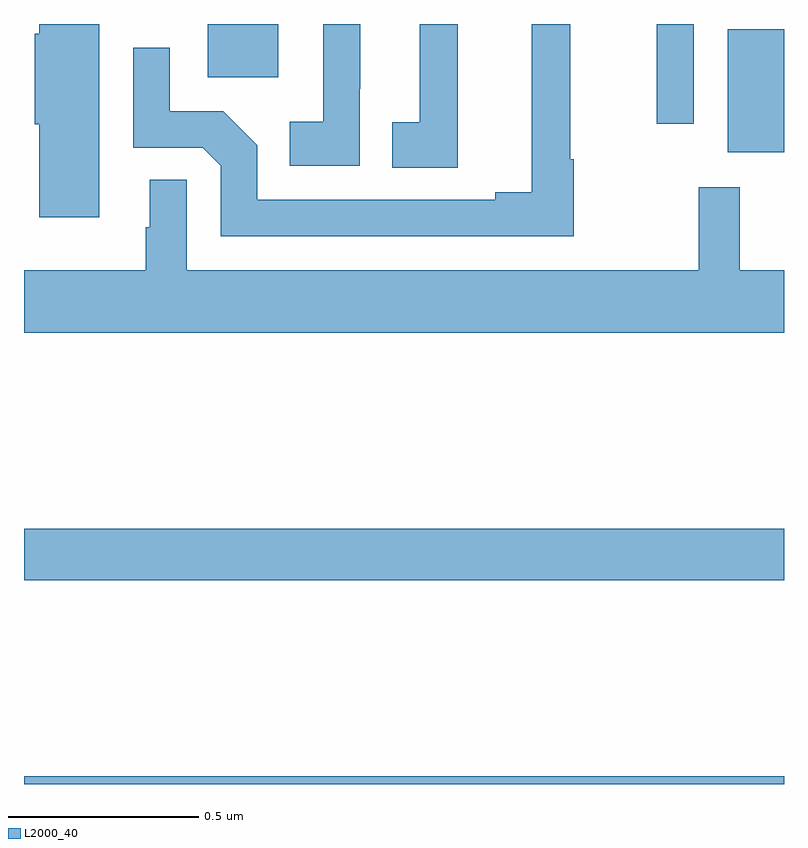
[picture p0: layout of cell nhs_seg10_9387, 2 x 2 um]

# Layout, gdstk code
import gdstk
lib = gdstk.Library(unit=1e-6, precision=1e-09)
def R(c, l, rs):  # rectangles x0, y0, x1, y1
    for r in rs: c.add(gdstk.rectangle(r[:2], r[2:], *l))
def P(c, l, *ps):  # polygons
    for p in ps: c.add(gdstk.Polygon(p, *l))
L2000_40 = (2000, 40)

nhs_seg10_9387 = lib.new_cell('nhs_seg10_9387')
R(nhs_seg10_9387, L2000_40, [(229,1260.5,231,1260.52), (229,1261.036,231,1261.172), (230.852,1262.163,231,1262.486), (230.665,1262.238,230.763,1262.5), (229.484,1262.36,229.669,1262.5)])
P(nhs_seg10_9387, L2000_40, [(229.198,1262.5),(229.04,1262.5),(229.04,1262.474),(229.028,1262.474),(229.028,1262.236),(229.04,1262.236),(229.04,1261.992),(229.198,1261.992)],
  [(230.141,1262.5),(230.042,1262.5),(230.042,1262.241),(229.969,1262.241),(229.969,1262.122),(230.141,1262.122)],
  [(230.447,1262.144),(230.437,1262.144),(230.437,1262.5),(230.336,1262.5),(230.336,1262.057),(230.24,1262.057),(230.24,1262.037),(229.614,1262.037),(229.614,1262.181),(229.524,1262.271),(229.383,1262.271),(229.383,1262.437),(229.287,1262.437),(229.287,1262.175),(229.47,1262.175),(229.518,1262.127),(229.518,1261.941),(230.447,1261.941)],
  [(229.884,1262.33),(229.885,1262.33),(229.885,1262.5),(229.788,1262.5),(229.788,1262.243),(229.699,1262.243),(229.699,1262.127),(229.884,1262.127)],
  [(231,1261.852),(230.884,1261.852),(230.884,1262.071),(230.775,1262.071),(230.775,1261.852),(229.428,1261.852),(229.428,1262.09),(229.331,1262.09),(229.331,1261.965),(229.32,1261.965),(229.32,1261.852),(229,1261.852),(229,1261.688),(231,1261.688)])

lib.write_gds('nhs_seg10_9387.gds')
